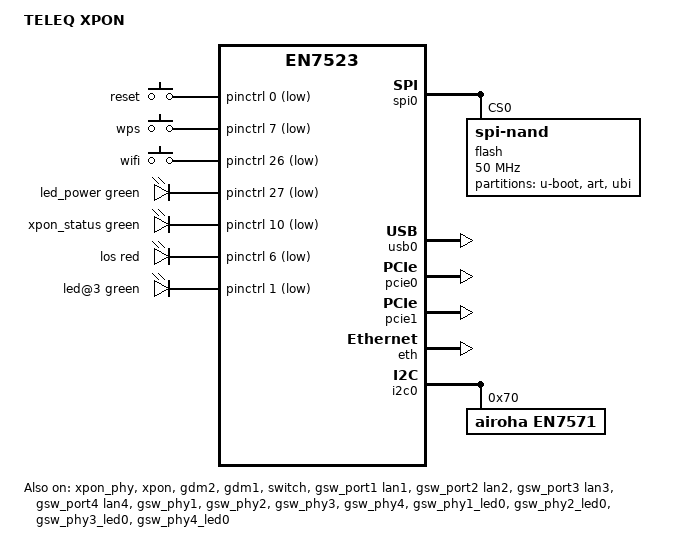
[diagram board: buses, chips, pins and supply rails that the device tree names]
/* SPDX-License-Identifier: GPL-2.0-or-later OR MIT */
/dts-v1/;

#include <dt-bindings/leds/common.h>
#include <dt-bindings/gpio/gpio.h>
#include <dt-bindings/input/input.h>
#include "en7523.dtsi"

/ {
	model = "TELEQ XPON";
	compatible = "teleq,xpon", "airoha,en7523";

	chosen {
		rootdisk = <&firmware>;
		bootargs = "console=ttyS0,115200 earlycon ubi.block=0,fit root=/dev/fit0 rootwait";
		stdout-path = "serial0:115200n8";
	};

	aliases {
		serial0 = &uart1;
		led-boot = &led_power;
		led-failsafe = &led_power;
		led-upgrade = &led_power;
		led-running = &led_power;
	};

	keys {
		compatible = "gpio-keys-polled";
		poll-interval = <100>;

		reset {
			label = "reset";
			linux,code = <KEY_RESTART>;
			gpios = <&pinctrl 0 GPIO_ACTIVE_LOW>;
			debounce-interval = <60>;
		};

		wps {
			label = "wps";
			linux,code = <KEY_WPS_BUTTON>;
			gpios = <&pinctrl 7 GPIO_ACTIVE_LOW>;
			debounce-interval = <60>;
		};
		
		wifi {
			label = "wifi";
			linux,code = <KEY_WLAN>;
			gpios = <&pinctrl 26 GPIO_ACTIVE_LOW>;
			debounce-interval = <60>;
		}; 
	};

	leds {
		compatible = "gpio-leds";

		led_power: led@0 {
			color = <LED_COLOR_ID_GREEN>;
			function = LED_FUNCTION_STATUS;
			function-enumerator = <0>;
			gpios = <&pinctrl 27 GPIO_ACTIVE_LOW>;
		};

		xpon_status: led@1 {
			color = <LED_COLOR_ID_GREEN>;
			function = LED_FUNCTION_STATUS;
			function-enumerator = <1>;
			gpios = <&pinctrl 10 GPIO_ACTIVE_LOW>;
		};

		los: led@2 {
			color = <LED_COLOR_ID_RED>;
			function = LED_FUNCTION_STATUS;
			function-enumerator = <2>;
			gpios = <&pinctrl 6 GPIO_ACTIVE_LOW>;
		};

		led@3 {
			color = <LED_COLOR_ID_GREEN>;
			function = LED_FUNCTION_WAN_ONLINE;
			function-enumerator = <3>;
			gpios = <&pinctrl 1 GPIO_ACTIVE_LOW>;
		};
	};
};

/*
Factory u-boot and configuration:
	0x000000000000-0x000000080000 : "bootloader"
	0x000000080000-0x0000000c0000 : "romfile"
Combined into single u-boot:
mtd1:	0x00000000-0x00100000 : BL1 + FIP (BL2 + BL31 + BL33)
Calibration data partition is kept:
mtd2:	0x06dc0000-0x70000000 : art (reservearea)
Rests partition merged into single UBI partition:
mtd3:	0x00100000-0x6dc00000 : UBI (uboot env{1,2} + fit (firmware))
*/

&spi0 {
	flash@0 {
		reg = <0>;
		compatible = "spi-nand";
		spi-max-frequency = <50000000>;
		spi-tx-bus-width = <1>;
		spi-rx-bus-width = <2>;

		partitions {
			compatible = "fixed-partitions";
			#address-cells = <1>;
			#size-cells = <1>;

			partition@0 {
				label = "u-boot";
				reg = <0x0 0x100000>;
				read-only;
			};

			partition@6dc0000 {
				label = "art";
				reg = <0x6dc0000 0x240000>;
				read-only;

				nvmem-layout {
					compatible = "fixed-layout";
					#address-cells = <1>;
					#size-cells = <1>;

					eeprom: eeprom@4c000 {
						reg = <0x4c000 0x1000>;
					};

					en7571_bob: en7571_bob@140497 {
						reg = <0x140497 0x200>;
					};

					gpon_sn: gpon_sn@1402BC {
						reg = <0x1402BC 0xC>;
					};
				};

                        };

			partition@100000 {
				label = "ubi";
				compatible = "linux,ubi";
				reg = <0x100000 0x6cc0000>;

				volumes {
					ubi-volume-ubootenv {
						volname = "ubootenv";
						nvmem-layout {
							compatible = "u-boot,env-redundant-bool";
						};
					};

					ubi-volume-ubootenv2 {
						volname = "ubootenv2";
						nvmem-layout {
							compatible = "u-boot,env-redundant-bool";

							ubootenv_ethaddr: ethaddr {
								#nvmem-cell-cells = <1>;
							};
						};
					};

					firmware: ubi-volume-firmware {
						volname = "fit";
						compatible = "denx,fit-image";
					};
				};
			};
		};
	};
};

&usb0 {
	status = "okay";
};

&pcie0 {
	status = "okay";
};

&pcie1 {
	status = "okay";
};

&pcie1_slot1 {
	reg = <0x00000800 0 0 0 0>;
	#address-cells = <3>;
	#size-cells = <2>;

	mt7915@0,0 {
		reg = <0x0000 0 0 0 0>;
		#address-cells = <1>;
		#size-cells = <0>;
		nvmem-cells = <&eeprom>;
		nvmem-cell-names = "eeprom";
		airoha,npu = <&npu>;
		airoha,eth = <&eth>;

		band@0 {
			reg = <0>;
			nvmem-cells = <&ubootenv_ethaddr 2>;
			nvmem-cell-names = "mac-address";
		};

		band@1 {
			reg = <1>;
			nvmem-cells = <&ubootenv_ethaddr 3>;
			nvmem-cell-names = "mac-address";
		};
	};
};

&eth {
	status = "okay";
};

&i2c0 {
	status = "okay";

	en7571: lddla@70 {
		compatible = "airoha,en7571";
		reg = <0x70>;

		nvmem-cells = <&en7571_bob>;
		nvmem-cell-names = "calibration";

		#optical-frontend-cells = <0>;
	};
};

&xpon_phy {
	status = "okay";
};

&xpon {
	status = "okay";

	nvmem-cells = <&gpon_sn>;
	nvmem-cell-names = "gpon-serial-number";

	optical-frontends = <&en7571>;
	optical-frontend-names = "pon";

	leds = <&xpon_status>, <&los>;
	led-names = "pon", "los";
};

&gdm2 {
	status = "okay";
	phy-mode = "internal";

	nvmem-cells = <&ubootenv_ethaddr 0>;
	nvmem-cell-names = "mac-address";

	/delete-property/ pcs-handle;

	airoha,xpon-managed;
	openwrt,netdev-name = "pon0";
};

&gdm1 {
	status = "okay";
	nvmem-cells = <&ubootenv_ethaddr 0>;
	nvmem-cell-names = "mac-address";
};

&switch {
	status = "okay";
};

&gsw_port1 {
	label = "lan1";
	status = "okay";
};

&gsw_port2 {
	label = "lan2";
	status = "okay";
};

&gsw_port3 {
	label = "lan3";
	status = "okay";
};

&gsw_port4 {
	label = "lan4";
	status = "okay";
};

&gsw_port6 {
	nvmem-cells = <&ubootenv_ethaddr 0>;
	nvmem-cell-names = "mac-address";
};

&gsw_phy1 {
	status = "okay";
};

&gsw_phy2 {
	status = "okay";
};

&gsw_phy3 {
	status = "okay";
};

&gsw_phy4 {
	status = "okay";
};

&gsw_phy1_led0 {
    status = "okay";
    color = <LED_COLOR_ID_GREEN>;
};

&gsw_phy2_led0 {
    status = "okay";
    color = <LED_COLOR_ID_GREEN>;
};

&gsw_phy3_led0 {
    status = "okay";
    color = <LED_COLOR_ID_GREEN>;
};

&gsw_phy4_led0 {
    status = "okay";
    color = <LED_COLOR_ID_GREEN>;
};
